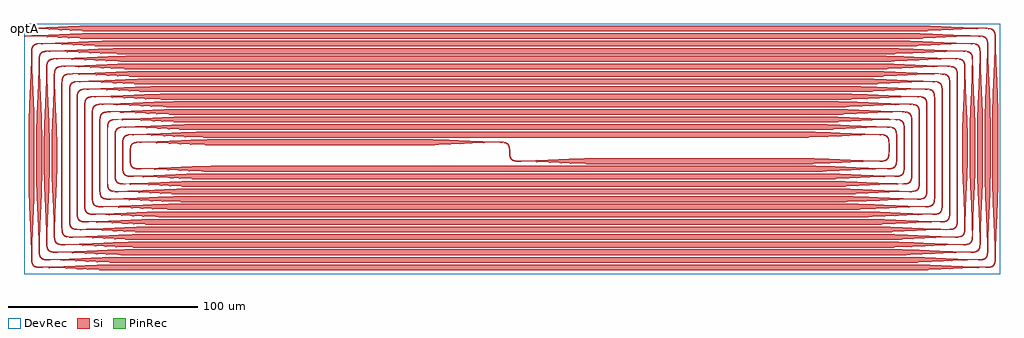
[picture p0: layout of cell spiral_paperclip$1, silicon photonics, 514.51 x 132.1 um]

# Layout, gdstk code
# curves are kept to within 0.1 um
import gdstk
lib = gdstk.Library(unit=1e-6, precision=1e-09)
def R(c, l, rs):  # rectangles x0, y0, x1, y1
    for r in rs: c.add(gdstk.rectangle(r[:2], r[2:], *l))
def P(c, l, *ps):  # polygons
    for p in ps: c.add(gdstk.Polygon(p, *l))
Si = (1, 0)
PinRec = (1, 10)
DevRec = (68, 0)

spiral_paperclip_1 = lib.new_cell('spiral_paperclip$1')
R(spiral_paperclip_1, Si, [(-207,-62.5,211,-59.5), (-203,-58.5,207,-55.5), (-199,-54.5,203,-51.5), (-195,-50.5,199,-47.5), (-191,-46.5,195,-43.5), (-187,-42.5,191,-39.5), (-183,-38.5,187,-35.5), (-179,-34.5,183,-31.5), (-175,-30.5,179,-27.5), (-171,-26.5,175,-23.5), (-167,-22.5,171,-19.5), (-163,-18.5,167,-15.5), (-253.5,-16,-250.5,12), (254.5,-16,257.5,20), (-159,-14.5,163,-11.5), (-249.5,-12,-246.5,8), (250.5,-12,253.5,16), (-155,-10.5,159,-7.5), (-245.5,-8,-242.5,4), (246.5,-8,249.5,12), (45,-6.5,155,-3.5), (-241.5,-4,-238.5,0), (242.5,-4,245.5,8), (238.5,0,241.5,4), (-155,3.5,-45,6.5), (-159,7.5,155,10.5), (-163,11.5,159,14.5), (-167,15.5,163,18.5), (-171,19.5,167,22.5), (-175,23.5,171,26.5), (-179,27.5,175,30.5), (-183,31.5,179,34.5), (-187,35.5,183,38.5), (-191,39.5,187,42.5), (-195,43.5,191,46.5), (-199,47.5,195,50.5), (-203,51.5,199,54.5), (-207,55.5,203,58.5), (-216,59.5,207,62.5), (-216,63.5,211,66.5)])
P(spiral_paperclip_1, Si, [(231,-41.25),(231,-40.75),(232.386,-40.696),(233.48,-40.521),(234.304,-40.209),(234.897,-39.746),(235.314,-39.093),(235.555,-38.341),(235.712,-37.206),(235.75,-36),(235.722,41.022),(235.612,42.045),(235.405,42.865),(235.093,43.494),(234.746,43.897),(234.093,44.314),(233.341,44.555),(232.206,44.712),(231,44.75),(231,45.25),(232.431,45.195),(233.603,45.006),(234.543,44.648),(235.177,44.177),(235.647,43.544),(236.005,42.604),(236.194,41.432),(236.25,40),(236.223,-37.049),(236.105,-38.13),(235.876,-39.032),(235.51,-39.771),(234.984,-40.351),(234.298,-40.769),(233.45,-41.042),(232.432,-41.194)],
  [(-227,-41.25),(-228.431,-41.195),(-229.603,-41.006),(-230.543,-40.648),(-231.177,-40.177),(-231.647,-39.544),(-232.005,-38.604),(-232.194,-37.432),(-232.25,-36),(-232.21,33.242),(-232.075,34.292),(-231.825,35.167),(-231.433,35.88),(-230.881,36.432),(-230.298,36.769),(-229.45,37.042),(-228.432,37.194),(-227,37.25),(-227,36.75),(-228.386,36.696),(-229.48,36.521),(-230.304,36.209),(-230.897,35.746),(-231.314,35.093),(-231.555,34.341),(-231.712,33.206),(-231.75,32),(-231.711,-37.207),(-231.584,-38.197),(-231.405,-38.865),(-231.093,-39.494),(-230.667,-39.966),(-230.093,-40.314),(-229.341,-40.555),(-228.206,-40.712),(-227,-40.75)],
  [(223,-33.25),(223,-32.75),(224.386,-32.696),(225.48,-32.521),(226.304,-32.209),(226.897,-31.746),(227.314,-31.093),(227.555,-30.341),(227.712,-29.206),(227.75,-28),(227.711,33.207),(227.584,34.197),(227.405,34.865),(227.093,35.494),(226.667,35.966),(226.093,36.314),(225.341,36.555),(224.206,36.712),(223,36.75),(223,37.25),(224.431,37.195),(225.603,37.006),(226.543,36.648),(227.177,36.177),(227.647,35.544),(228.005,34.604),(228.194,33.432),(228.25,32),(228.25,-28),(228.195,-29.431),(228.043,-30.449),(227.77,-31.297),(227.433,-31.88),(226.881,-32.432),(226.298,-32.769),(225.45,-33.042),(224.432,-33.194)],
  [(-219,-33.25),(-220.431,-33.195),(-221.603,-33.006),(-222.543,-32.648),(-223.177,-32.177),(-223.647,-31.544),(-224.005,-30.604),(-224.194,-29.432),(-224.25,-28),(-224.25,24),(-224.195,25.431),(-224.043,26.449),(-223.77,27.297),(-223.433,27.88),(-222.881,28.432),(-222.298,28.769),(-221.45,29.042),(-220.432,29.194),(-219,29.25),(-219,28.75),(-220.386,28.696),(-221.48,28.521),(-222.304,28.209),(-222.897,27.746),(-223.314,27.093),(-223.555,26.341),(-223.712,25.206),(-223.75,24),(-223.711,-29.207),(-223.584,-30.197),(-223.405,-30.865),(-223.093,-31.494),(-222.667,-31.966),(-222.093,-32.314),(-221.341,-32.555),(-220.206,-32.712),(-219,-32.75)],
  [(215,-25.25),(215,-24.75),(216.386,-24.696),(217.48,-24.521),(218.304,-24.209),(218.897,-23.746),(219.314,-23.093),(219.555,-22.341),(219.712,-21.206),(219.75,-20),(219.75,24),(219.696,25.386),(219.554,26.342),(219.36,26.982),(219.093,27.494),(218.667,27.966),(218.093,28.314),(217.341,28.555),(216.206,28.712),(215,28.75),(215,29.25),(216.431,29.195),(217.603,29.006),(218.543,28.648),(219.177,28.177),(219.647,27.544),(220.005,26.604),(220.194,25.432),(220.25,24),(220.25,-20),(220.177,-21.613),(220.006,-22.603),(219.711,-23.422),(219.267,-24.082),(218.772,-24.509),(218.168,-24.824),(217.293,-25.074),(216.243,-25.209)],
  [(-211,-25.25),(-212.431,-25.195),(-213.603,-25.006),(-214.543,-24.648),(-215.177,-24.177),(-215.647,-23.544),(-216.005,-22.604),(-216.194,-21.432),(-216.25,-20),(-216.25,16),(-216.156,17.79),(-215.966,18.75),(-215.711,19.422),(-215.267,20.082),(-214.772,20.509),(-214.168,20.824),(-213.293,21.074),(-212.243,21.209),(-211,21.25),(-211,20.75),(-212.386,20.696),(-213.48,20.521),(-214.304,20.209),(-214.897,19.746),(-215.314,19.093),(-215.555,18.341),(-215.712,17.206),(-215.75,16),(-215.75,-20),(-215.659,-21.729),(-215.521,-22.48),(-215.313,-23.094),(-214.965,-23.668),(-214.582,-24.031),(-213.981,-24.361),(-213.196,-24.585),(-212.206,-24.712),(-211,-24.75)],
  [(207,-17.25),(207,-16.75),(208.386,-16.696),(209.48,-16.521),(210.304,-16.209),(210.897,-15.746),(211.314,-15.093),(211.555,-14.341),(211.712,-13.206),(211.75,-12),(211.75,16),(211.637,17.89),(211.485,18.613),(211.262,19.201),(210.965,19.668),(210.582,20.031),(209.981,20.361),(209.196,20.585),(208.206,20.712),(207,20.75),(207,21.25),(208.431,21.195),(209.603,21.006),(210.543,20.648),(211.177,20.177),(211.647,19.544),(212.005,18.604),(212.194,17.432),(212.25,16),(212.25,-12),(212.132,-13.963),(211.923,-14.893),(211.648,-15.543),(211.267,-16.082),(210.772,-16.509),(210.168,-16.824),(209.293,-17.074),(208.243,-17.209)],
  [(-203,-17.25),(-204.431,-17.195),(-205.603,-17.006),(-206.543,-16.648),(-207.177,-16.177),(-207.647,-15.544),(-208.005,-14.604),(-208.194,-13.432),(-208.25,-12),(-208.249,8.221),(-208.195,9.431),(-208.043,10.449),(-207.825,11.167),(-207.51,11.771),(-207.083,12.266),(-206.544,12.647),(-205.894,12.922),(-205.131,13.104),(-203,13.25),(-203,12.75),(-204.386,12.696),(-205.48,12.521),(-206.304,12.209),(-206.897,11.746),(-207.314,11.093),(-207.555,10.341),(-207.712,9.206),(-207.75,8),(-207.75,-12),(-207.711,-13.207),(-207.584,-14.197),(-207.209,-15.304),(-206.896,-15.747),(-206.493,-16.094),(-205.864,-16.406),(-205.196,-16.585),(-204.206,-16.712),(-203,-16.75)],
  [(199,-9.25),(199,-8.75),(200.386,-8.696),(201.48,-8.521),(202.304,-8.209),(202.823,-7.823),(203.21,-7.303),(203.486,-6.612),(203.66,-5.728),(203.741,-4.631),(203.748,8.217),(203.696,9.386),(203.554,10.342),(203.36,10.982),(203.093,11.494),(202.746,11.897),(202.303,12.21),(201.741,12.447),(201.044,12.613),(199,12.75),(199,13.25),(199.647,13.241),(201.449,13.043),(202.167,12.825),(202.66,12.581),(203.177,12.177),(203.509,11.772),(203.769,11.298),(204.005,10.604),(204.176,9.614),(204.245,8.438),(204.241,-4.647),(204.132,-5.963),(203.923,-6.893),(203.581,-7.66),(203.083,-8.266),(202.423,-8.71),(201.604,-9.005),(200.432,-9.194)],
  [(-195,-9.25),(-196.242,-9.21),(-197.292,-9.075),(-198.167,-8.825),(-198.771,-8.51),(-199.266,-8.083),(-199.71,-7.423),(-200.005,-6.604),(-200.176,-5.614),(-200.248,-4.223),(-200.241,0.647),(-200.132,1.963),(-199.923,2.893),(-199.433,3.88),(-198.772,4.509),(-197.894,4.922),(-196.614,5.176),(-195,5.25),(-195,4.75),(-196.89,4.637),(-198.094,4.313),(-198.583,4.03),(-198.966,3.667),(-199.263,3.2),(-199.486,2.612),(-199.66,1.728),(-199.746,0.427),(-199.748,-4.217),(-199.678,-5.56),(-199.554,-6.342),(-199.313,-7.094),(-199.03,-7.583),(-198.667,-7.966),(-198.093,-8.314),(-197.341,-8.555),(-196.206,-8.712),(-195,-8.75)],
  [(5,-5.25),(3.568,-5.194),(2.396,-5.005),(1.456,-4.647),(0.823,-4.177),(0.289,-3.422),(-0.043,-2.449),(-0.21,-1.242),(-0.363,1.89),(-0.554,2.742),(-0.848,3.401),(-1.418,4.031),(-2.259,4.447),(-3.441,4.679),(-5,4.75),(-5,5.25),(-3.569,5.195),(-2.397,5.006),(-1.457,4.648),(-0.823,4.177),(-0.29,3.423),(0.042,2.45),(0.209,1.243),(0.362,-1.889),(0.553,-2.741),(0.847,-3.4),(1.417,-4.03),(2.258,-4.446),(3.44,-4.678),(5,-4.75)],
  [(195,-5.25),(195,-4.75),(196.206,-4.712),(197.341,-4.555),(198.093,-4.314),(198.667,-3.966),(199.03,-3.583),(199.313,-3.094),(199.554,-2.342),(199.678,-1.56),(199.748,-0.217),(199.746,4.427),(199.66,5.728),(199.486,6.612),(199.263,7.2),(198.966,7.667),(198.583,8.03),(198.094,8.313),(196.89,8.637),(195,8.75),(195,9.25),(196.614,9.176),(197.894,8.922),(198.772,8.509),(199.433,7.88),(199.923,6.893),(200.132,5.963),(200.241,4.647),(200.248,-0.223),(200.176,-1.614),(200.005,-2.604),(199.71,-3.423),(199.266,-4.083),(198.771,-4.51),(198.167,-4.825),(197.292,-5.075),(196.242,-5.21)],
  [(-199,-13.25),(-200.432,-13.194),(-201.604,-13.005),(-202.423,-12.71),(-203.083,-12.266),(-203.581,-11.66),(-203.923,-10.893),(-204.132,-9.963),(-204.241,-8.647),(-204.245,4.438),(-204.176,5.614),(-204.005,6.604),(-203.769,7.298),(-203.509,7.772),(-203.177,8.177),(-202.66,8.581),(-202.167,8.825),(-201.449,9.043),(-199.647,9.241),(-199,9.25),(-199,8.75),(-201.044,8.613),(-201.741,8.447),(-202.303,8.21),(-202.746,7.897),(-203.093,7.494),(-203.36,6.982),(-203.554,6.342),(-203.696,5.386),(-203.748,4.217),(-203.741,-8.631),(-203.66,-9.728),(-203.486,-10.612),(-203.21,-11.303),(-202.823,-11.823),(-202.304,-12.209),(-201.48,-12.521),(-200.386,-12.696),(-199,-12.75)],
  [(203,-13.25),(203,-12.75),(204.385,-12.697),(205.479,-12.522),(206.303,-12.21),(206.896,-11.747),(207.313,-11.094),(207.554,-10.342),(207.711,-9.207),(207.75,-8),(207.749,12.217),(207.585,14.196),(207.21,15.303),(206.897,15.746),(206.494,16.093),(205.865,16.405),(205.197,16.584),(204.207,16.711),(203,16.75),(203,17.25),(204.432,17.194),(205.604,17.005),(206.544,16.647),(207.177,16.177),(207.648,15.543),(208.006,14.603),(208.195,13.431),(208.25,12),(208.248,-8.223),(208.194,-9.432),(208.042,-10.45),(207.824,-11.168),(207.509,-11.772),(207.082,-12.267),(206.543,-12.648),(205.893,-12.923),(205.13,-13.105)],
  [(-207,-21.25),(-208.432,-21.194),(-209.604,-21.005),(-210.544,-20.647),(-211.177,-20.177),(-211.648,-19.543),(-212.006,-18.603),(-212.195,-17.431),(-212.25,-16),(-212.25,12),(-212.131,13.964),(-211.922,14.894),(-211.647,15.544),(-211.266,16.083),(-210.771,16.51),(-210.167,16.825),(-209.292,17.075),(-208.242,17.21),(-207,17.25),(-207,16.75),(-208.385,16.697),(-209.479,16.522),(-210.303,16.21),(-210.896,15.747),(-211.313,15.094),(-211.554,14.342),(-211.711,13.207),(-211.75,12),(-211.75,-16),(-211.638,-17.889),(-211.486,-18.612),(-211.263,-19.2),(-210.966,-19.667),(-210.583,-20.03),(-209.982,-20.36),(-209.197,-20.584),(-208.207,-20.711),(-207,-20.75)],
  [(211,-21.25),(211,-20.75),(212.385,-20.697),(213.479,-20.522),(214.303,-20.21),(214.896,-19.747),(215.313,-19.094),(215.554,-18.342),(215.711,-17.207),(215.75,-16),(215.75,20),(215.66,21.728),(215.522,22.479),(215.314,23.093),(214.966,23.667),(214.583,24.03),(213.982,24.36),(213.197,24.584),(212.207,24.711),(211,24.75),(211,25.25),(212.432,25.194),(213.604,25.005),(214.544,24.647),(215.177,24.177),(215.648,23.543),(216.006,22.603),(216.195,21.431),(216.25,20),(216.25,-16),(216.155,-17.791),(215.965,-18.751),(215.71,-19.423),(215.266,-20.083),(214.771,-20.51),(214.167,-20.825),(213.292,-21.075),(212.242,-21.21)],
  [(-215,-29.25),(-216.432,-29.194),(-217.604,-29.005),(-218.544,-28.647),(-219.177,-28.177),(-219.648,-27.543),(-220.006,-26.603),(-220.195,-25.431),(-220.25,-24),(-220.25,20),(-220.176,21.614),(-220.005,22.604),(-219.71,23.423),(-219.266,24.083),(-218.771,24.51),(-218.167,24.825),(-217.292,25.075),(-216.242,25.21),(-215,25.25),(-215,24.75),(-216.385,24.697),(-217.479,24.522),(-218.303,24.21),(-218.896,23.747),(-219.313,23.094),(-219.554,22.342),(-219.711,21.207),(-219.75,20),(-219.75,-24),(-219.697,-25.385),(-219.555,-26.341),(-219.361,-26.981),(-219.094,-27.493),(-218.668,-27.965),(-218.094,-28.313),(-217.342,-28.554),(-216.207,-28.711),(-215,-28.75)],
  [(219,-29.25),(219,-28.75),(220.385,-28.697),(221.479,-28.522),(222.303,-28.21),(222.896,-27.747),(223.313,-27.094),(223.554,-26.342),(223.711,-25.207),(223.75,-24),(223.712,29.206),(223.585,30.196),(223.406,30.864),(223.094,31.493),(222.668,31.965),(222.094,32.313),(221.342,32.554),(220.207,32.711),(219,32.75),(219,33.25),(220.432,33.194),(221.604,33.005),(222.544,32.647),(223.177,32.177),(223.648,31.543),(224.006,30.603),(224.195,29.431),(224.25,28),(224.25,-24),(224.194,-25.432),(224.042,-26.45),(223.769,-27.298),(223.432,-27.881),(222.88,-28.433),(222.297,-28.77),(221.449,-29.043),(220.431,-29.195)],
  [(-223,-37.25),(-224.432,-37.194),(-225.604,-37.005),(-226.544,-36.647),(-227.177,-36.177),(-227.648,-35.543),(-228.006,-34.603),(-228.195,-33.431),(-228.25,-32),(-228.25,28),(-228.194,29.432),(-228.042,30.45),(-227.769,31.298),(-227.432,31.881),(-226.88,32.433),(-226.297,32.77),(-225.449,33.043),(-224.431,33.195),(-223,33.25),(-223,32.75),(-224.385,32.697),(-225.479,32.522),(-226.303,32.21),(-226.896,31.747),(-227.313,31.094),(-227.554,30.342),(-227.711,29.207),(-227.75,28),(-227.712,-33.206),(-227.585,-34.196),(-227.406,-34.864),(-227.094,-35.493),(-226.668,-35.965),(-226.094,-36.313),(-225.342,-36.554),(-224.207,-36.711),(-223,-36.75)],
  [(227,-37.25),(227,-36.75),(228.385,-36.697),(229.479,-36.522),(230.303,-36.21),(230.896,-35.747),(231.313,-35.094),(231.554,-34.342),(231.711,-33.207),(231.75,-32),(231.712,37.206),(231.585,38.196),(231.406,38.864),(231.094,39.493),(230.668,39.965),(230.094,40.313),(229.342,40.554),(228.207,40.711),(227,40.75),(227,41.25),(228.432,41.194),(229.604,41.005),(230.544,40.647),(231.177,40.177),(231.648,39.543),(232.006,38.603),(232.195,37.431),(232.25,36),(232.209,-33.243),(232.074,-34.293),(231.824,-35.168),(231.432,-35.881),(230.88,-36.433),(230.297,-36.77),(229.449,-37.043),(228.431,-37.195)],
  [(-231,-45.25),(-232.432,-45.194),(-233.604,-45.005),(-234.544,-44.647),(-235.177,-44.177),(-235.648,-43.543),(-236.006,-42.603),(-236.195,-41.431),(-236.25,-40),(-236.222,37.05),(-236.104,38.131),(-235.875,39.033),(-235.509,39.772),(-234.983,40.352),(-234.297,40.77),(-233.449,41.043),(-232.431,41.195),(-231,41.25),(-231,40.75),(-232.385,40.697),(-233.479,40.522),(-234.303,40.21),(-234.896,39.747),(-235.313,39.094),(-235.554,38.342),(-235.711,37.207),(-235.75,36),(-235.723,-41.021),(-235.613,-42.044),(-235.406,-42.864),(-235.094,-43.493),(-234.747,-43.896),(-234.094,-44.313),(-233.342,-44.554),(-232.207,-44.711),(-231,-44.75)],
  [(251.75,56),(251.711,57.207),(251.554,58.342),(251.313,59.094),(250.896,59.747),(250.303,60.21),(249.479,60.522),(248.385,60.697),(247,60.75),(247,61.25),(248.613,61.177),(249.75,60.966),(250.66,60.581),(251.266,60.083),(251.58,59.661),(251.875,59.033),(252.176,57.614),(252.25,56)],
  [(239.75,44),(239.712,45.206),(239.555,46.341),(239.314,47.093),(238.897,47.746),(238.304,48.209),(237.48,48.521),(236.386,48.696),(235,48.75),(235,49.25),(236.614,49.176),(237.751,48.965),(238.661,48.58),(239.267,48.082),(239.581,47.66),(239.876,47.032),(240.177,45.613),(240.25,44)],
  [(243.75,48),(243.711,49.207),(243.554,50.342),(243.313,51.094),(242.896,51.747),(242.303,52.21),(241.479,52.522),(240.385,52.697),(239,52.75),(239,53.25),(240.613,53.177),(241.75,52.966),(242.66,52.581),(243.266,52.083),(243.58,51.661),(243.875,51.033),(244.176,49.614),(244.25,48)],
  [(247.75,52),(247.712,53.206),(247.555,54.341),(247.314,55.093),(246.897,55.746),(246.304,56.209),(245.48,56.521),(244.386,56.696),(243,56.75),(243,57.25),(244.614,57.176),(245.751,56.965),(246.661,56.58),(247.267,56.082),(247.581,55.66),(247.876,55.032),(248.177,53.613),(248.25,52)],
  [(255.75,60),(255.712,61.206),(255.555,62.341),(255.314,63.093),(254.897,63.746),(254.304,64.209),(253.48,64.521),(252.386,64.696),(251,64.75),(251,65.25),(252.614,65.176),(253.751,64.965),(254.661,64.58),(255.267,64.082),(255.581,63.66),(255.876,63.032),(256.177,61.613),(256.25,60)],
  [(-244.25,44),(-244.194,45.432),(-244.005,46.604),(-243.647,47.544),(-243.177,48.177),(-242.543,48.648),(-241.603,49.006),(-240.431,49.195),(-239,49.25),(-239,48.75),(-240.385,48.697),(-241.479,48.522),(-242.303,48.21),(-242.823,47.823),(-243.209,47.304),(-243.521,46.48),(-243.696,45.386),(-243.75,44)],
  [(-240.25,40),(-240.195,41.431),(-240.006,42.603),(-239.648,43.543),(-239.177,44.177),(-238.544,44.647),(-237.604,45.005),(-236.432,45.194),(-235,45.25),(-235,44.75),(-236.386,44.696),(-237.48,44.521),(-238.304,44.209),(-238.823,43.823),(-239.21,43.303),(-239.522,42.479),(-239.697,41.385),(-239.75,40)],
  [(-252.25,52),(-252.194,53.432),(-252.005,54.604),(-251.647,55.544),(-251.177,56.177),(-250.543,56.648),(-249.603,57.006),(-248.431,57.195),(-247,57.25),(-247,56.75),(-248.385,56.697),(-249.479,56.522),(-250.303,56.21),(-250.823,55.823),(-251.209,55.304),(-251.521,54.48),(-251.696,53.386),(-251.75,52)],
  [(-248.25,48),(-248.195,49.431),(-248.006,50.603),(-247.648,51.543),(-247.177,52.177),(-246.544,52.647),(-245.604,53.005),(-244.432,53.194),(-243,53.25),(-243,52.75),(-244.386,52.696),(-245.48,52.521),(-246.304,52.209),(-246.823,51.823),(-247.21,51.303),(-247.522,50.479),(-247.697,49.385),(-247.75,48)],
  [(-239,-53.25),(-240.432,-53.194),(-241.604,-53.005),(-242.544,-52.647),(-243.177,-52.177),(-243.648,-51.543),(-244.006,-50.603),(-244.195,-49.431),(-244.25,-48),(-243.75,-48),(-243.697,-49.385),(-243.522,-50.479),(-243.21,-51.303),(-242.823,-51.823),(-242.304,-52.209),(-241.48,-52.521),(-240.386,-52.696),(-239,-52.75)],
  [(-235,-49.25),(-236.431,-49.195),(-237.603,-49.006),(-238.543,-48.648),(-239.177,-48.177),(-239.647,-47.544),(-240.005,-46.604),(-240.194,-45.432),(-240.25,-44),(-239.75,-44),(-239.696,-45.386),(-239.521,-46.48),(-239.209,-47.304),(-238.823,-47.823),(-238.303,-48.21),(-237.479,-48.522),(-236.385,-48.697),(-235,-48.75)],
  [(-247,-61.25),(-248.432,-61.194),(-249.604,-61.005),(-250.544,-60.647),(-251.177,-60.177),(-251.648,-59.543),(-252.006,-58.603),(-252.195,-57.431),(-252.25,-56),(-251.75,-56),(-251.697,-57.385),(-251.522,-58.479),(-251.21,-59.303),(-250.823,-59.823),(-250.304,-60.209),(-249.48,-60.521),(-248.386,-60.696),(-247,-60.75)],
  [(-243,-57.25),(-244.431,-57.195),(-245.603,-57.006),(-246.543,-56.648),(-247.177,-56.177),(-247.647,-55.544),(-248.005,-54.604),(-248.194,-53.432),(-248.25,-52),(-247.75,-52),(-247.696,-53.386),(-247.521,-54.48),(-247.209,-55.304),(-246.823,-55.823),(-246.303,-56.21),(-245.479,-56.522),(-244.385,-56.697),(-243,-56.75)],
  [(247,-57.25),(247,-56.75),(248.386,-56.696),(249.48,-56.521),(250.304,-56.209),(250.823,-55.823),(251.21,-55.303),(251.522,-54.479),(251.697,-53.385),(251.75,-52),(252.25,-52),(252.195,-53.431),(252.006,-54.603),(251.648,-55.543),(251.177,-56.177),(250.544,-56.647),(249.604,-57.005),(248.432,-57.194)],
  [(239,-49.25),(239,-48.75),(240.386,-48.696),(241.48,-48.521),(242.304,-48.209),(242.823,-47.823),(243.21,-47.303),(243.522,-46.479),(243.697,-45.385),(243.75,-44),(244.25,-44),(244.195,-45.431),(244.006,-46.603),(243.648,-47.543),(243.177,-48.177),(242.544,-48.647),(241.604,-49.005),(240.432,-49.194)],
  [(243,-53.25),(243,-52.75),(244.385,-52.697),(245.479,-52.522),(246.303,-52.21),(246.823,-51.823),(247.209,-51.304),(247.521,-50.48),(247.696,-49.386),(247.75,-48),(248.25,-48),(248.194,-49.432),(248.005,-50.604),(247.647,-51.544),(247.177,-52.177),(246.543,-52.648),(245.603,-53.006),(244.431,-53.195)],
  [(235,-45.25),(235,-44.75),(236.385,-44.697),(237.479,-44.522),(238.303,-44.21),(238.823,-43.823),(239.209,-43.304),(239.521,-42.48),(239.696,-41.386),(239.75,-40),(240.25,-40),(240.194,-41.432),(240.005,-42.604),(239.647,-43.544),(239.177,-44.177),(238.543,-44.648),(237.603,-45.006),(236.431,-45.195)],
  [(251,-61.25),(251,-60.75),(252.385,-60.697),(253.479,-60.522),(254.303,-60.21),(254.823,-59.823),(255.209,-59.304),(255.521,-58.48),(255.696,-57.386),(255.75,-56),(256.25,-56),(256.194,-57.432),(256.005,-58.604),(255.647,-59.544),(255.177,-60.177),(254.543,-60.648),(253.603,-61.006),(252.431,-61.195)],
  [(-241.5,0),(-241.307,10.28),(-240.395,31.12),(-240.25,40),(-239.75,40),(-239.61,31.28),(-238.693,10.28),(-238.5,0)],
  [(159,11.5),(159,14.5),(169.28,14.307),(190.12,13.395),(199,13.25),(199,12.75),(190.28,12.61),(169.28,11.693)],
  [(187,39.5),(187,42.5),(197.28,42.307),(218.12,41.395),(227,41.25),(227,40.75),(218.28,40.61),(197.28,39.693)],
  [(163,15.5),(163,18.5),(173.28,18.307),(194.12,17.395),(203,17.25),(203,16.75),(194.28,16.61),(173.28,15.693)],
  [(175,27.5),(175,30.5),(185.28,30.307),(206.12,29.395),(215,29.25),(215,28.75),(206.28,28.61),(185.28,27.693)],
  [(242.5,8),(242.693,18.28),(243.605,39.12),(243.75,48),(244.25,48),(244.39,39.28),(245.307,18.28),(245.5,8)],
  [(238.5,4),(238.693,14.28),(239.605,35.12),(239.75,44),(240.25,44),(240.39,35.28),(241.307,14.28),(241.5,4)],
  [(250.5,16),(250.693,26.28),(251.605,47.12),(251.75,56),(252.25,56),(252.39,47.28),(253.307,26.28),(253.5,16)],
  [(195,47.5),(195,50.5),(205.28,50.307),(226.12,49.395),(235,49.25),(235,48.75),(226.28,48.61),(205.28,47.693)],
  [(171,23.5),(171,26.5),(181.28,26.307),(202.12,25.395),(211,25.25),(211,24.75),(202.28,24.61),(181.28,23.693)],
  [(183,35.5),(183,38.5),(193.28,38.307),(214.12,37.395),(223,37.25),(223,36.75),(214.28,36.61),(193.28,35.693)],
  [(167,19.5),(167,22.5),(177.28,22.307),(198.12,21.395),(207,21.25),(207,20.75),(198.28,20.61),(177.28,19.693)],
  [(246.5,12),(246.693,22.28),(247.605,43.12),(247.75,52),(248.25,52),(248.39,43.28),(249.307,22.28),(249.5,12)],
  [(203,55.5),(203,58.5),(213.28,58.307),(234.12,57.395),(243,57.25),(243,56.75),(234.28,56.61),(213.28,55.693)],
  [(155,7.5),(155,10.5),(165.28,10.307),(186.12,9.395),(195,9.25),(195,8.75),(186.28,8.61),(165.28,7.693)],
  [(179,31.5),(179,34.5),(189.28,34.307),(210.12,33.395),(219,33.25),(219,32.75),(210.28,32.61),(189.28,31.693)],
  [(207,59.5),(207,62.5),(217.28,62.307),(238.12,61.395),(247,61.25),(247,60.75),(238.28,60.61),(217.28,59.693)],
  [(254.5,20),(254.693,30.28),(255.605,51.12),(255.75,60),(256.25,60),(256.39,51.28),(257.307,30.28),(257.5,20)],
  [(199,51.5),(199,54.5),(209.28,54.307),(230.12,53.395),(239,53.25),(239,52.75),(230.28,52.61),(209.28,51.693)],
  [(211,63.5),(211,66.5),(221.28,66.307),(242.12,65.395),(251,65.25),(251,64.75),(242.28,64.61),(221.28,63.693)],
  [(191,43.5),(191,46.5),(201.28,46.307),(222.12,45.395),(231,45.25),(231,44.75),(222.28,44.61),(201.28,43.693)],
  [(-187,35.5),(-197.28,35.693),(-218.12,36.605),(-227,36.75),(-227,37.25),(-218.28,37.39),(-197.28,38.307),(-187,38.5)],
  [(-199,47.5),(-209.28,47.693),(-230.12,48.605),(-239,48.75),(-239,49.25),(-230.28,49.39),(-209.28,50.307),(-199,50.5)],
  [(-159,7.5),(-169.28,7.693),(-190.12,8.605),(-199,8.75),(-199,9.25),(-190.28,9.39),(-169.28,10.307),(-159,10.5)],
  [(-163,11.5),(-173.28,11.693),(-194.12,12.605),(-203,12.75),(-203,13.25),(-194.28,13.39),(-173.28,14.307),(-163,14.5)],
  [(-245.5,4),(-245.307,14.28),(-244.395,35.12),(-244.25,44),(-243.75,44),(-243.61,35.28),(-242.693,14.28),(-242.5,4)],
  [(-195,43.5),(-205.28,43.693),(-226.12,44.605),(-235,44.75),(-235,45.25),(-226.28,45.39),(-205.28,46.307),(-195,46.5)],
  [(-183,31.5),(-193.28,31.693),(-214.12,32.605),(-223,32.75),(-223,33.25),(-214.28,33.39),(-193.28,34.307),(-183,34.5)],
  [(-249.5,8),(-249.307,18.28),(-248.395,39.12),(-248.25,48),(-247.75,48),(-247.61,39.28),(-246.693,18.28),(-246.5,8)],
  [(-216,59.5),(-226.28,59.693),(-247.12,60.605),(-256,60.75),(-256,61.25),(-247.28,61.39),(-226.28,62.307),(-216,62.5)],
  [(-171,19.5),(-181.28,19.693),(-202.12,20.605),(-211,20.75),(-211,21.25),(-202.28,21.39),(-181.28,22.307),(-171,22.5)],
  [(-207,55.5),(-217.28,55.693),(-238.12,56.605),(-247,56.75),(-247,57.25),(-238.28,57.39),(-217.28,58.307),(-207,58.5)],
  [(-167,15.5),(-177.28,15.693),(-198.12,16.605),(-207,16.75),(-207,17.25),(-198.28,17.39),(-177.28,18.307),(-167,18.5)],
  [(-253.5,12),(-253.307,22.28),(-252.395,43.12),(-252.25,52),(-251.75,52),(-251.61,43.28),(-250.693,22.28),(-250.5,12)],
  [(-191,39.5),(-201.28,39.693),(-222.12,40.605),(-231,40.75),(-231,41.25),(-222.28,41.39),(-201.28,42.307),(-191,42.5)],
  [(-155,3.5),(-165.28,3.693),(-186.12,4.605),(-195,4.75),(-195,5.25),(-186.28,5.39),(-165.28,6.307),(-155,6.5)],
  [(-45,3.5),(-45,6.5),(-34.72,6.307),(-13.88,5.395),(-5,5.25),(-5,4.75),(-13.72,4.61),(-34.72,3.693)],
  [(-179,27.5),(-189.28,27.693),(-210.12,28.605),(-219,28.75),(-219,29.25),(-210.28,29.39),(-189.28,30.307),(-179,30.5)],
  [(-216,63.5),(-226.28,63.693),(-247.12,64.605),(-256,64.75),(-256,65.25),(-247.28,65.39),(-226.28,66.307),(-216,66.5)],
  [(-175,23.5),(-185.28,23.693),(-206.12,24.605),(-215,24.75),(-215,25.25),(-206.28,25.39),(-185.28,26.307),(-175,26.5)],
  [(-203,51.5),(-213.28,51.693),(-234.12,52.605),(-243,52.75),(-243,53.25),(-234.28,53.39),(-213.28,54.307),(-203,54.5)],
  [(-163,-18.5),(-173.28,-18.307),(-194.12,-17.395),(-203,-17.25),(-203,-16.75),(-194.28,-16.61),(-173.28,-15.693),(-163,-15.5)],
  [(-199,-54.5),(-209.28,-54.307),(-230.12,-53.395),(-239,-53.25),(-239,-52.75),(-230.28,-52.61),(-209.28,-51.693),(-199,-51.5)],
  [(-167,-22.5),(-177.28,-22.307),(-198.12,-21.395),(-207,-21.25),(-207,-20.75),(-198.28,-20.61),(-177.28,-19.693),(-167,-19.5)],
  [(-203,-58.5),(-213.28,-58.307),(-234.12,-57.395),(-243,-57.25),(-243,-56.75),(-234.28,-56.61),(-213.28,-55.693),(-203,-55.5)],
  [(-171,-26.5),(-181.28,-26.307),(-202.12,-25.395),(-211,-25.25),(-211,-24.75),(-202.28,-24.61),(-181.28,-23.693),(-171,-23.5)],
  [(-191,-46.5),(-201.28,-46.307),(-222.12,-45.395),(-231,-45.25),(-231,-44.75),(-222.28,-44.61),(-201.28,-43.693),(-191,-43.5)],
  [(-195,-50.5),(-205.28,-50.307),(-226.12,-49.395),(-235,-49.25),(-235,-48.75),(-226.28,-48.61),(-205.28,-47.693),(-195,-47.5)],
  [(-248.25,-52),(-248.39,-43.28),(-249.307,-22.28),(-249.5,-12),(-246.5,-12),(-246.693,-22.28),(-247.605,-43.12),(-247.75,-52)],
  [(-252.25,-56),(-252.39,-47.28),(-253.307,-26.28),(-253.5,-16),(-250.5,-16),(-250.693,-26.28),(-251.605,-47.12),(-251.75,-56)],
  [(-175,-30.5),(-185.28,-30.307),(-206.12,-29.395),(-215,-29.25),(-215,-28.75),(-206.28,-28.61),(-185.28,-27.693),(-175,-27.5)],
  [(-159,-14.5),(-169.28,-14.307),(-190.12,-13.395),(-199,-13.25),(-199,-12.75),(-190.28,-12.61),(-169.28,-11.693),(-159,-11.5)],
  [(-207,-62.5),(-217.28,-62.307),(-238.12,-61.395),(-247,-61.25),(-247,-60.75),(-238.28,-60.61),(-217.28,-59.693),(-207,-59.5)],
  [(-155,-10.5),(-165.28,-10.307),(-186.12,-9.395),(-195,-9.25),(-195,-8.75),(-186.28,-8.61),(-165.28,-7.693),(-155,-7.5)],
  [(-179,-34.5),(-189.28,-34.307),(-210.12,-33.395),(-219,-33.25),(-219,-32.75),(-210.28,-32.61),(-189.28,-31.693),(-179,-31.5)],
  [(-240.25,-44),(-240.39,-35.28),(-241.307,-14.28),(-241.5,-4),(-238.5,-4),(-238.693,-14.28),(-239.605,-35.12),(-239.75,-44)],
  [(-187,-42.5),(-197.28,-42.307),(-218.12,-41.395),(-227,-41.25),(-227,-40.75),(-218.28,-40.61),(-197.28,-39.693),(-187,-39.5)],
  [(-244.25,-48),(-244.39,-39.28),(-245.307,-18.28),(-245.5,-8),(-242.5,-8),(-242.693,-18.28),(-243.605,-39.12),(-243.75,-48)],
  [(-183,-38.5),(-193.28,-38.307),(-214.12,-37.395),(-223,-37.25),(-223,-36.75),(-214.28,-36.61),(-193.28,-35.693),(-183,-35.5)],
  [(203,-54.5),(203,-51.5),(213.28,-51.693),(234.12,-52.605),(243,-52.75),(243,-53.25),(234.28,-53.39),(213.28,-54.307)],
  [(247.75,-48),(247.61,-39.28),(246.693,-18.28),(246.5,-8),(249.5,-8),(249.307,-18.28),(248.395,-39.12),(248.25,-48)],
  [(243.75,-44),(243.61,-35.28),(242.693,-14.28),(242.5,-4),(245.5,-4),(245.307,-14.28),(244.395,-35.12),(244.25,-44)],
  [(159,-10.5),(159,-7.5),(169.28,-7.693),(190.12,-8.605),(199,-8.75),(199,-9.25),(190.28,-9.39),(169.28,-10.307)],
  [(195,-46.5),(195,-43.5),(205.28,-43.693),(226.12,-44.605),(235,-44.75),(235,-45.25),(226.28,-45.39),(205.28,-46.307)],
  [(251.75,-52),(251.61,-43.28),(250.693,-22.28),(250.5,-12),(253.5,-12),(253.307,-22.28),(252.395,-43.12),(252.25,-52)],
  [(207,-58.5),(207,-55.5),(217.28,-55.693),(238.12,-56.605),(247,-56.75),(247,-57.25),(238.28,-57.39),(217.28,-58.307)],
  [(239.75,-40),(239.61,-31.28),(238.693,-10.28),(238.5,0),(241.5,0),(241.307,-10.28),(240.395,-31.12),(240.25,-40)],
  [(179,-30.5),(179,-27.5),(189.28,-27.693),(210.12,-28.605),(219,-28.75),(219,-29.25),(210.28,-29.39),(189.28,-30.307)],
  [(163,-14.5),(163,-11.5),(173.28,-11.693),(194.12,-12.605),(203,-12.75),(203,-13.25),(194.28,-13.39),(173.28,-14.307)],
  [(167,-18.5),(167,-15.5),(177.28,-15.693),(198.12,-16.605),(207,-16.75),(207,-17.25),(198.28,-17.39),(177.28,-18.307)],
  [(211,-62.5),(211,-59.5),(221.28,-59.693),(242.12,-60.605),(251,-60.75),(251,-61.25),(242.28,-61.39),(221.28,-62.307)],
  [(191,-42.5),(191,-39.5),(201.28,-39.693),(222.12,-40.605),(231,-40.75),(231,-41.25),(222.28,-41.39),(201.28,-42.307)],
  [(175,-26.5),(175,-23.5),(185.28,-23.693),(206.12,-24.605),(215,-24.75),(215,-25.25),(206.28,-25.39),(185.28,-26.307)],
  [(255.75,-56),(255.61,-47.28),(254.693,-26.28),(254.5,-16),(257.5,-16),(257.307,-26.28),(256.395,-47.12),(256.25,-56)],
  [(183,-34.5),(183,-31.5),(193.28,-31.693),(214.12,-32.605),(223,-32.75),(223,-33.25),(214.28,-33.39),(193.28,-34.307)],
  [(199,-50.5),(199,-47.5),(209.28,-47.693),(230.12,-48.605),(239,-48.75),(239,-49.25),(230.28,-49.39),(209.28,-50.307)],
  [(45,-6.5),(34.72,-6.307),(13.88,-5.395),(5,-5.25),(5,-4.75),(13.72,-4.61),(34.72,-3.693),(45,-3.5)],
  [(187,-38.5),(187,-35.5),(197.28,-35.693),(218.12,-36.605),(227,-36.75),(227,-37.25),(218.28,-37.39),(197.28,-38.307)],
  [(155,-6.5),(155,-3.5),(165.28,-3.693),(186.12,-4.605),(195,-4.75),(195,-5.25),(186.28,-5.39),(165.28,-6.307)],
  [(171,-22.5),(171,-19.5),(181.28,-19.693),(202.12,-20.605),(211,-20.75),(211,-21.25),(202.28,-21.39),(181.28,-22.307)])
R(spiral_paperclip_1, DevRec, [(-256,-64.6,258.5,67.5)])
spiral_paperclip_1.add(gdstk.FlexPath([(-255.99,65),(-256.01,65)], 0.5, ends="flush", simple_path=True, layer=1, datatype=10))  # PinRec
spiral_paperclip_1.add(gdstk.FlexPath([(-255.99,61),(-256.01,61)], 0.5, ends="flush", simple_path=True, layer=1, datatype=10))  # PinRec
spiral_paperclip_1.add(gdstk.Label('optA', (-256,65), layer=1, texttype=10))
spiral_paperclip_1.add(gdstk.Label('optB', (-256,61), layer=1, texttype=10))

lib.write_gds('spiral_paperclip_1.gds')
